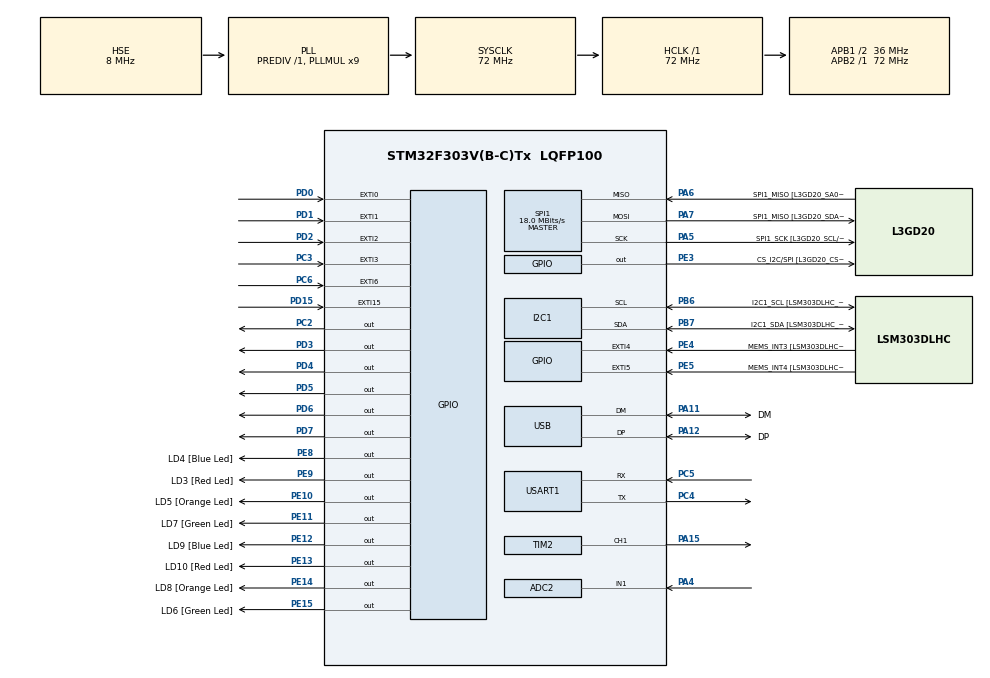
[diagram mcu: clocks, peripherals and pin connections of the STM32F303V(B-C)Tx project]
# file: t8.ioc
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ADC2.Channel-0\#ChannelRegularConversion=ADC_CHANNEL_1
ADC2.NbrOfConversionFlag=1
ADC2.Offset-0\#ChannelRegularConversion=0
ADC2.OffsetNumber-0\#ChannelRegularConversion=ADC_OFFSET_NONE
ADC2.Rank-0\#ChannelRegularConversion=1
ADC2.SamplingTime-0\#ChannelRegularConversion=ADC_SAMPLETIME_601CYCLES_5
ADC2.SamplingTimeOPAMP-0\#ChannelRegularConversion=ADC_SAMPLETIME_19CYCLES_5
I2C1.Timing-I2C=0x2000090E
Mcu.Family=STM32F3
Mcu.Name=STM32F303V(B-C)Tx
Mcu.Package=LQFP100
NVIC.ADC1_2_IRQn=true\:2\:0\:true\:false\:true\:true\:true
NVIC.EXTI0_IRQn=true\:0\:0\:true\:false\:true\:true\:true
NVIC.EXTI1_IRQn=true\:0\:0\:false\:false\:true\:true\:true
NVIC.EXTI2_TSC_IRQn=true\:0\:0\:false\:false\:true\:true\:true
NVIC.PriorityGroup=NVIC_PRIORITYGROUP_2
NVIC.TIM1_BRK_TIM15_IRQn=true\:2\:0\:true\:false\:true\:true\:true
NVIC.TIM1_CC_IRQn=true\:2\:0\:true\:false\:true\:true\:true
NVIC.TIM1_TRG_COM_TIM17_IRQn=true\:2\:0\:true\:false\:true\:true\:true
NVIC.TIM1_UP_TIM16_IRQn=true\:2\:0\:true\:false\:true\:true\:true
NVIC.TIM4_IRQn=true\:0\:0\:true\:false\:true\:true\:true
NVIC.TIM8_BRK_IRQn=true\:0\:0\:false\:false\:true\:true\:true
PA11.GPIO_Label=DM
PA11.Mode=Device
PA11.Signal=USB_DM
PA12.GPIO_Label=DP
PA12.Mode=Device
PA12.Signal=USB_DP
PA13.GPIO_Label=SWDIO
PA13.Mode=Serial_Wire
PA13.Signal=SYS_JTMS-SWDIO
PA14.GPIO_Label=SWCLK
PA14.Mode=Serial_Wire
PA14.Signal=SYS_JTCK-SWCLK
PA15.Signal=S_TIM2_CH1_ETR
PA4.Mode=IN1-Single-Ended
PA4.Signal=ADC2_IN1
PA5.GPIO_Label=SPI1_SCK [L3GD20_SCL/SPC]
PA5.Mode=Full_Duplex_Master
PA5.Signal=SPI1_SCK
PA6.GPIO_Label=SPI1_MISO [L3GD20_SA0/SDO]
PA6.Mode=Full_Duplex_Master
PA6.Signal=SPI1_MISO
PA7.GPIO_Label=SPI1_MISO [L3GD20_SDA/SDI/SDO]
PA7.Mode=Full_Duplex_Master
PA7.Signal=SPI1_MOSI
PB3.GPIO_Label=SWO
PB3.Signal=SYS_JTDO-TRACESWO
PB6.GPIO_Label=I2C1_SCL [LSM303DLHC_SCL]
PB6.GPIO_Pu=GPIO_PULLUP
PB6.Mode=I2C
PB6.Signal=I2C1_SCL
PB7.GPIO_Label=I2C1_SDA [LSM303DLHC_SDA]
PB7.GPIO_Pu=GPIO_PULLUP
PB7.Mode=I2C
PB7.Signal=I2C1_SDA
PC14-OSC32_IN.GPIO_Label=OSC32_IN
PC14-OSC32_IN.Signal=RCC_OSC32_IN
PC15-OSC32_OUT.GPIO_Label=OSC32_OUT
PC15-OSC32_OUT.Signal=RCC_OSC32_OUT
PC2.Signal=GPIO_Output
PC3.Signal=GPXTI3
PC4.Mode=Asynchronous
PC4.Signal=USART1_TX
PC5.Mode=Asynchronous
PC5.Signal=USART1_RX
PC6.Signal=GPXTI6
PD0.Signal=GPXTI0
PD1.Signal=GPXTI1
PD15.Signal=GPXTI15
PD2.Signal=GPXTI2
PD3.Signal=GPIO_Output
PD4.Signal=GPIO_Output
PD5.Signal=GPIO_Output
PD6.Signal=GPIO_Output
PD7.Signal=GPIO_Output
PE10.GPIO_Label=LD5 [Orange Led]
PE10.Signal=GPIO_Output
PE11.GPIO_Label=LD7 [Green Led]
PE11.Signal=GPIO_Output
PE12.GPIO_Label=LD9 [Blue Led]
PE12.Signal=GPIO_Output
PE13.GPIO_Label=LD10 [Red Led]
PE13.Signal=GPIO_Output
PE14.GPIO_Label=LD8 [Orange Led]
PE14.Signal=GPIO_Output
PE15.GPIO_Label=LD6 [Green Led]
PE15.Signal=GPIO_Output
PE3.GPIO_Label=CS_I2C/SPI [L3GD20_CS_I2C/SPI]
PE3.Signal=GPIO_Output
PE4.GPIO_Label=MEMS_INT3 [LSM303DLHC_INT1]
PE4.GPIO_ModeDefaultEXTI=GPIO_MODE_EVT_RISING
PE4.Signal=GPXTI4
PE5.GPIO_Label=MEMS_INT4 [LSM303DLHC_INT2]
PE5.GPIO_ModeDefaultEXTI=GPIO_MODE_EVT_RISING
PE5.Signal=GPXTI5
PE8.GPIO_Label=LD4 [Blue Led]
PE8.Signal=GPIO_Output
PE9.GPIO_Label=LD3 [Red Led]
PE9.Signal=GPIO_Output
PF0-OSC_IN.GPIO_Label=OSC_IN
PF0-OSC_IN.Mode=HSE-External-Clock-Source
PF0-OSC_IN.Signal=RCC_OSC_IN
PF1-OSC_OUT.GPIO_Label=OSC_OUT
PF1-OSC_OUT.Signal=RCC_OSC_OUT
ProjectManager.HeapSize=0x200
ProjectManager.StackSize=0x400
ProjectManager.TargetToolchain=STM32CubeIDE
RCC.AHBFreq_Value=72000000
RCC.APB1CLKDivider=RCC_HCLK_DIV2
RCC.APB1Freq_Value=36000000
RCC.APB1TimFreq_Value=72000000
RCC.APB2Freq_Value=72000000
RCC.APB2TimFreq_Value=72000000
RCC.CortexFreq_Value=72000000
RCC.HCLKFreq_Value=72000000
RCC.HSE_VALUE=8000000
RCC.HSI_VALUE=8000000
RCC.LSE_VALUE=32768
RCC.PLLMUL=RCC_PLL_MUL9
RCC.PRESCALERUSB=RCC_USBCLKSOURCE_PLL_DIV1_5
RCC.SYSCLKFreq_VALUE=72000000
RCC.SYSCLKSourceVirtual=RCC_SYSCLKSOURCE_PLLCLK
RCC.USBFreq_Value=48000000
SH.S_TIM2_CH1_ETR.0=TIM2_CH1,PWM Generation1 CH1
SPI1.BaudRatePrescaler=SPI_BAUDRATEPRESCALER_4
SPI1.BaudRatePrescaler-Full_Duplex_Master=SPI_BAUDRATEPRESCALER_2
SPI1.CalculateBaudRate=18.0 MBits/s
SPI1.CalculateBaudRate-Full_Duplex_Master=24.0 MBits/s
SPI1.Direction=SPI_DIRECTION_2LINES
SPI1.Mode=SPI_MODE_MASTER
SPI1.Mode-Full_Duplex_Master=SPI_MODE_MASTER
SPI1.VirtualType=VM_MASTER
TIM1.Period=9999
TIM1.Prescaler=7199
TIM2.Channel-PWM\ Generation1\ CH1=TIM_CHANNEL_1
TIM3.Period=9999
TIM3.Prescaler=959
TIM4.Period=9999
TIM4.Prescaler=4799
USART1.VirtualMode-Asynchronous=VM_ASYNC
VP_RTC_VS_RTC_Activate.Mode=RTC_Enabled
VP_RTC_VS_RTC_Calendar.Mode=RTC_Calendar
VP_TIM1_VS_ClockSourceINT.Mode=Internal
VP_TIM3_VS_ClockSourceINT.Mode=Internal
VP_TIM4_VS_ClockSourceINT.Mode=Internal
VP_TIM8_VS_ClockSourceINT.Mode=Internal
board=STM32F3DISCOVERY

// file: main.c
/* USER CODE BEGIN Header */
/**
 ******************************************************************************
 * @file           : main.c
 * @brief          : Main program body
 ******************************************************************************
 * @attention
 *
 * <h2><center>&copy; Copyright (c) 2022 STMicroelectronics.
 * All rights reserved.</center></h2>
 *
 * This software component is licensed by ST under BSD 3-Clause license,
 * the "License"; You may not use this file except in compliance with the
 * License. You may obtain a copy of the License at:
 *                        opensource.org/licenses/BSD-3-Clause
 *
 ******************************************************************************
 */
/* USER CODE END Header */
#include "main.h"

/* USER CODE BEGIN PTD */
#include <String.h>
#include <stdio.h>
#include "stm32f3xx_hal.h" // change this here and inside LiquidCrystal library accordingly
#include "LiquidCrystal.h"
typedef struct {
	uint16_t frequency;
	uint16_t duration;
} Tone;
typedef unsigned char byte;
#define ARRAY_LENGTH(arr) (sizeof(arr) / sizeof((arr)[0]))
#define NOTE_B0  31
#define NOTE_C1  33
#define NOTE_CS1 35
#define NOTE_D1  37
#define NOTE_DS1 39
#define NOTE_E1  41
#define NOTE_F1  44
#define NOTE_FS1 46
#define NOTE_G1  49
#define NOTE_GS1 52
#define NOTE_A1  55
#define NOTE_AS1 58
#define NOTE_B1  62
#define NOTE_C2  65
#define NOTE_CS2 69
#define NOTE_D2  73
#define NOTE_DS2 78
#define NOTE_E2  82
#define NOTE_F2  87
#define NOTE_FS2 93
#define NOTE_G2  98
#define NOTE_GS2 104
#define NOTE_A2  110
#define NOTE_AS2 117
#define NOTE_B2  123
#define NOTE_C3  131
#define NOTE_CS3 139
#define NOTE_D3  147
#define NOTE_DS3 156
#define NOTE_E3  165
#define NOTE_F3  175
#define NOTE_FS3 185
#define NOTE_G3  196
#define NOTE_GS3 208
#define NOTE_A3  220
#define NOTE_AS3 233
#define NOTE_B3  247
#define NOTE_C4  262
#define NOTE_CS4 277
#define NOTE_D4  294
#define NOTE_DS4 311
#define NOTE_E4  330
#define NOTE_F4  349
#define NOTE_FS4 370
#define NOTE_G4  392
#define NOTE_GS4 415
#define NOTE_A4  440
#define NOTE_AS4 466
#define NOTE_B4  494
#define NOTE_C5  523
#define NOTE_CS5 554
#define NOTE_D5  587
#define NOTE_DS5 622
#define NOTE_E5  659
#define NOTE_F5  698
#define NOTE_FS5 740
#define NOTE_G5  784
#define NOTE_GS5 831
#define NOTE_A5  880
#define NOTE_AS5 932
#define NOTE_B5  988
#define NOTE_C6  1047
#define NOTE_CS6 1109
#define NOTE_D6  1175
#define NOTE_DS6 1245
#define NOTE_E6  1319
#define NOTE_F6  1397
#define NOTE_FS6 1480
#define NOTE_G6  1568
#define NOTE_GS6 1661
#define NOTE_A6  1760
#define NOTE_AS6 1865
#define NOTE_B6  1976
#define NOTE_C7  2093
#define NOTE_CS7 2217
#define NOTE_D7  2349
#define NOTE_DS7 2489
#define NOTE_E7  2637
#define NOTE_F7  2794
#define NOTE_FS7 2960
#define NOTE_G7  3136
#define NOTE_GS7 3322
#define NOTE_A7  3520
#define NOTE_AS7 3729
#define NOTE_B7  3951
#define NOTE_C8  4186
#define NOTE_CS8 4435
#define NOTE_D8  4699
#define NOTE_DS8 4978
#define REST      0

/* USER CODE END PTD */

ADC_HandleTypeDef hadc2;

I2C_HandleTypeDef hi2c1;

RTC_HandleTypeDef hrtc;

SPI_HandleTypeDef hspi1;

TIM_HandleTypeDef htim1;
TIM_HandleTypeDef htim2;
TIM_HandleTypeDef htim3;
TIM_HandleTypeDef htim4;
TIM_HandleTypeDef htim8;

UART_HandleTypeDef huart1;

PCD_HandleTypeDef hpcd_USB_FS;

/* USER CODE BEGIN PV */
TIM_HandleTypeDef *pwm_timer = &htim2;
uint32_t pwm_channel = TIM_CHANNEL_1;   // Select configured PWM channel number
const Tone *volatile melody_ptr;
volatile uint16_t melody_tone_count;
volatile uint16_t current_tone_number;
volatile uint32_t current_tone_end;
volatile uint32_t last_button_press;
char lcdstr[20];
char str[20];   //for UART
char name[10];   //for name
int new_field[20][4]; //0 = empty 1 = spaceship 2=enemy 3 = spaceship bullet 4=enemy bullet
int old_field[20][4]; //0 = empty 1 = spaceship 2=enemy 3 = spaceship bullet 4=enemy bullet
int load = 0;
int last_gpio_exti = 0;
int i = 0, j = 0, t = 0, sw = 0, length;
int keypad = 0;
int heart = 7;
int movetime = 2;
int volume = 50;          // (0 - 1000)
int killed = 0;
int music = 0;
enum levels {
	Easy, Medium, Hard
};
enum pages {
	Start, About, End, Level, Name, Game, Menu
};
enum pages page;
enum levels level;
char strlevel[3][6] = { "EASY  ", "Medium", "Hard  " };
RTC_TimeTypeDef mytime;
RTC_DateTypeDef mydate;
byte spaceship[8] = { 0x00, 0x00, 0x07, 0x1F, 0x1F, 0x07, 0x00, 0x00 };
byte bullet[8] = { 0x00, 0x00, 0x06, 0x06, 0x06, 0x00, 0x00, 0x00 };
byte enemy[8] = { 0x00, 0x10, 0x09, 0x0E, 0x0E, 0x09, 0x10, 0x00 };
byte e_bullet[8] = { 0x00, 0x00, 0x00, 0x00, 0x1F, 0x00, 0x00, 0x00 };
byte crash[8] = { 0x00, 0x11, 0x0A, 0x04, 0x0A, 0x11, 0x00, 0x00 };
/* USER CODE END PV */

void SystemClock_Config(void);
static void MX_GPIO_Init(void);
static void MX_I2C1_Init(void);
static void MX_SPI1_Init(void);
static void MX_USB_PCD_Init(void);
static void MX_TIM1_Init(void);
static void MX_TIM2_Init(void);
static void MX_RTC_Init(void);
static void MX_ADC2_Init(void);
static void MX_TIM3_Init(void);
static void MX_USART1_UART_Init(void);
static void MX_TIM4_Init(void);
static void MX_TIM8_Init(void);
/* USER CODE BEGIN PFP */
const Tone melody[] = {         // Dart Vader theme (Imperial March) - Star wars
		{ NOTE_AS4, 125 }, { NOTE_AS4, 125 }, { NOTE_AS4, 125 },  //1
				{ NOTE_F5, 500 }, { NOTE_C6, 500 }, { NOTE_AS5, 125 }, {
				NOTE_A5, 125 }, { NOTE_G5, 125 }, { NOTE_F6, 500 }, {
				NOTE_C6, 250 }, { NOTE_AS5, 125 }, { NOTE_A5, 125 }, {
				NOTE_G5, 125 }, { NOTE_F6, 500 }, { NOTE_C6, 250 }, {
				NOTE_AS5, 125 }, { NOTE_A5, 125 }, { NOTE_AS5, 125 }, {
				NOTE_G5, 125 }, { NOTE_C5, 125 }, { NOTE_C5, 125 }, {
				NOTE_C5, 125 }, { NOTE_F5, 500 }, { NOTE_C6, 500 }, {
				NOTE_AS5, 125 }, { NOTE_A5, 125 }, { NOTE_G5, 125 }, {
				NOTE_F6, 500 }, { NOTE_C6, 250 }, { NOTE_AS5, 125 }, {
				NOTE_A5, 125 }, { NOTE_G5, 125 }, { NOTE_F6, 500 }, {
				NOTE_C6, 250 }, //8
				{ NOTE_AS5, 125 }, { NOTE_A5, 125 }, { NOTE_AS5, 125 }, {
				NOTE_G5, 500 }, { NOTE_C5, -125 }, { NOTE_C5, 62 }, {
				NOTE_D5, -250 }, { NOTE_D5, 125 }, { NOTE_AS5, 125 }, {
				NOTE_A5, 125 }, { NOTE_G5, 125 }, { NOTE_F5, 125 }, {
				NOTE_F5, 125 }, { NOTE_G5, 125 }, { NOTE_A5, 125 }, {
				NOTE_G5, 250 }, { NOTE_D5, 125 }, { NOTE_E5, 250 }, {
				NOTE_C5, -125 }, { NOTE_C5, 62 }, { NOTE_D5, -250 }, {
				NOTE_D5, 125 }, { NOTE_AS5, 125 }, { NOTE_A5, 125 }, {
				NOTE_G5, 125 }, { NOTE_F5, 125 }, { NOTE_C6, -125 }, {
				NOTE_G5, 62 }, { NOTE_G5, 500 }, { REST, 125 }, {
				NOTE_C5, 125 }, //13
				{ NOTE_D5, -250 }, { NOTE_D5, 125 }, { NOTE_AS5, 125 }, {
				NOTE_A5, 125 }, { NOTE_G5, 125 }, { NOTE_F5, 125 }, {
				NOTE_F5, 125 }, { NOTE_G5, 125 }, { NOTE_A5, 125 }, {
				NOTE_G5, 250 }, { NOTE_D5, 125 }, { NOTE_E5, 250 }, {
				NOTE_C6, -125 }, { NOTE_C6, 62 }, { NOTE_F6, 250 }, {
				NOTE_DS6, 125 }, { NOTE_CS6, 250 }, { NOTE_C6, 125 }, {
				NOTE_AS5, 250 }, { NOTE_GS5, 125 }, { NOTE_G5, 250 }, {
				NOTE_F5, 125 }, { NOTE_C6, 1000 } };
//int notes = sizeof(melody) / sizeof(melody[0]) / 2;
void spaceship_shooter() {
	int x;
	for (x = 0; x < 4; x++) {
		for (i = 1; i <= 18; i++) {
			if (new_field[i][x] == 3) {
				if (new_field[i - 1][x] == 2) {  //kill enemy
					new_field[i - 1][x] = 0;
					new_field[i][x] = 0;
					killed++;
				} else if (new_field[i - 1][x] == 4) {  //crash bullets
					new_field[i - 1][x] = 5;
					new_field[i][x] = 0;
				} else if (new_field[i - 1][x] == 0
						|| new_field[i - 1][x] == 5) {  //move bullet
					new_field[i - 1][x] = 3;
					new_field[i][x] = 0;
				}
			}
		}
	}
}
void move_enemy() {
	int x;
	for (x = 0; x < 4; x++) {
		for (i = 18; i >= 0; i--) {
			if (new_field[i][x] == 2 && new_field[i + 1][x] != 1) { // move down
				new_field[i + 1][x] = 2;
				new_field[i][x] = 0;
			}
		}
	}
	for (x = 0; x < 4; x++) {
		new_field[0][x] = 2;
	}
}
void enemy_shooter() {
	int x , y = 0;
	for (x = 0; x < 4; x++) {
		for (i = 0; i <= 18; i++) {
			if (new_field[i][x] == 4) {
				if (new_field[i + 1][x] == 0 && y < 4) {  //move down
					new_field[i + 1][x] = 4;
					new_field[i][x] = 0;
					y ++;
				} else if (new_field[i + 1][x] == 3&& y < 4) {  //crash bullets
					new_field[i + 1][x] = 5;
					new_field[i][x] = 0;
				}
				else if (new_field[i + 1][x] == 1) {  //end game
					new_field[i + 1][x] = 1;
					new_field[i][x] = 0;
					heart --;
					if(heart == 0)
						new_field[i + 1][x] = 5;
				}
			}
		}
	}
}
void shoot_enemy() {
	int x;
	for (x = 0; x < 4; x++) {
		for (i = 3; i < 18; i++) {
			if (new_field[i][x] == 2 && new_field[i + 1][x] != 2) {
				new_field[i + 1][x] = 4;
			}
		}
	}
}
void HAL_ADC_ConvCpltCallback(ADC_HandleTypeDef *hadc) {
	if (hadc->Instance == ADC2) {
		volume = HAL_ADC_GetValue(&hadc2) / 5;
		//length = sprintf(str, "vol = %d", vol);
		//HAL_UART_Transmit(&huart1, str, length, 1000);
		HAL_ADC_Start_IT(&hadc2);
	}
}
void send_field() {
	length = sprintf(str, "page = %d", page);
	HAL_UART_Transmit(&huart1, str, length, 1000);
	/*for (int i = 0; i < 20; i++) {
		length = sprintf(str, "\n{%d,%d,%d,%d}", new_field[i][0],
				new_field[i][1], new_field[i][2], new_field[i][3]);
		HAL_UART_Transmit(&huart1, str, length, 1000);
	}*/
}
void HAL_TIM_PeriodElapsedCallback(TIM_HandleTypeDef *htim) {
	//show display f = 20Hz
	if (htim->Instance == TIM1) {
		//print
		HAL_GPIO_TogglePin(GPIOE, GPIO_PIN_13);
		send_field();
		//end game
		if (killed >= (15 + (int) level * 10) && page == Game) {
			page = End;
			HAL_GPIO_WritePin(GPIOD, GPIO_PIN_3, 1);
		}
		if (heart <= 0) {
			page = End;
			HAL_GPIO_WritePin(GPIOD, GPIO_PIN_4, 1);

		}
		for (j = 0; j < 4; j++) {
			if (new_field[19][j] == 2) {
				page = End;
				HAL_GPIO_WritePin(GPIOD, GPIO_PIN_4, 1);
			}
		}
		if (page == Name) {
			setCursor(0, 0);
			sprintf(lcdstr, "Enter Your Name:    ");
			print(lcdstr);
			setCursor(0, 1);
			print("                    ");
			setCursor(0, 2);
			print("                    ");
		} else if (page == Level) {
			setCursor(0, 0);
			sprintf(lcdstr, "Level:              ");
			print(lcdstr);
			setCursor(0, 1);
			if (level == Easy)
				print("EASY                ");
			else if (level == Medium)
				print("MEDIUM              ");
			else if (level == Hard)
				print("HARD                ");
		} else if (page == About) {
			HAL_RTC_GetTime(&hrtc, &mytime, RTC_FORMAT_BIN);
			HAL_RTC_GetDate(&hrtc, &mydate, RTC_FORMAT_BIN);
			setCursor(0, 0);
			sprintf(lcdstr, "%2d:%2d:%2d", mytime.Hours, mytime.Minutes,
					mytime.Seconds);
			print(lcdstr);
			setCursor(0, 1);
			sprintf(lcdstr, "%d/%d/%d       ", mydate.Year, mydate.Month,
					mydate.Date);
			print(lcdstr);
			setCursor(0, 2);
			print("M.Akhavan & S.Anvari    ");
		} else if (page == Menu) {
			//music++;
			setCursor(0, 0);
			print("Choose              1.About Us2.New Game");
			//if (music % 8 == 0)
			///	Change_Melody(melody, ARRAY_LENGTH(melody));

		} else if (page == End) {
			setCursor(0, 0);
			if (killed >= (15 + (int) level * 10)) {
				print("You Won!            "); //
				setCursor(0, 1);
				print(name);
				print("          ");
				setCursor(0, 2);
				sprintf(lcdstr, "killed: %d           ", killed);
				print(lcdstr);
				setCursor(0, 3);
				sprintf(lcdstr, "Level: %c%c%c%c%c%c       ",
						strlevel[level][0], strlevel[level][1],
						strlevel[level][2], strlevel[level][3],
						strlevel[level][4], strlevel[level][5]);
				print(lcdstr);
				length = sprintf(str, "\nYou Wooooooooon :)");
				HAL_UART_Transmit(&huart1, str, length, 1000);
			} else {
				print("Game Over!          ");
				setCursor(0, 1);
				print(name);
				print("          ");
				setCursor(0, 2);
				sprintf(lcdstr, "killed: %d           ", killed);
				print(lcdstr);
				setCursor(0, 3);
				sprintf(lcdstr, "Level: %c%c%c%c%c%c       ",
						strlevel[level][0], strlevel[level][1],
						strlevel[level][2], strlevel[level][3],
						strlevel[level][4], strlevel[level][5]);
				print(lcdstr);
				length = sprintf(str, "\nSorry ,Try Better :(");
				HAL_UART_Transmit(&huart1, str, length, 1000);
			}

		}else if (page == Game) {
			sw++;
			if (sw >= 100000)
				sw = 0;
			if (sw % (movetime) == 0) {

				move_enemy();
			}
			//enemy_shooter();

			//shoot_enemy();

			spaceship_shooter();

			for (i = 0; i < 20; i++) {
				for (j = 0; j < 4; j++) {
					if (new_field[i][j] != old_field[i][j]) {
						old_field[i][j] = new_field[i][j];
						setCursor(i, j);
						if (new_field[i][j] == 0) {
							print(" ");
						}
						if (new_field[i][j] == 1) {
							write(0);

						}
						if (new_field[i][j] == 2) {
							write(1);

						}
						if (new_field[i][j] == 3) {
							write(2);
						}
						if (new_field[i][j] == 4) {
							write(3);
						}
						if (new_field[i][j] == 5) {
							write(4);
						}
					}
				}
			}
		}
	}
}
void HAL_GPIO_EXTI_Callback(uint16_t GPIO_Pin) {
	if (last_gpio_exti + 200 > HAL_GetTick()) // Simple button debouncing{
		return;
	last_gpio_exti = HAL_GetTick();
	if (GPIO_Pin == GPIO_PIN_0) { //left
		HAL_GPIO_TogglePin(GPIOE, GPIO_PIN_14);

		if (page == Start) {
			page = Menu; //go to menu
			Change_Melody(melody, ARRAY_LENGTH(melody));

		} else if (page == Menu || page == About) {
			page = Name; // go to game
			PWM_Change_Tone(0,0);
		} else if (page == Game) {
			for (int x = 0; x < 4; x++) {
				if (new_field[19][x] == 1) {
					new_field[19][x] = 0;
					new_field[19][(x + 3) % 4] = 1;
				}
			}
			if ((15 + (int) level * 10) - killed == 3) {
				length = sprintf(str, "\n Just kill %d enemy more",
						((15 + (int) level * 10) - killed));
				HAL_UART_Transmit(&huart1, str, length, 1000);
			}
			if (heart <= 1) {
				length = sprintf(str, "\n vaaaaaaaaaaaaaaay heart = %d", heart);
				HAL_UART_Transmit(&huart1, str, length, 1000);
			}
		} else if (page == Name) {
			HAL_UART_Receive(&huart1, name, 10, HAL_MAX_DELAY);

			page = Level;
		} else if (page == Level) {
			page = Game;
			length = sprintf(str,
					"\nWelcome! \nTarget = %d  Level = %c%c%c%c%c%c",
					(15 + (int) level * 10), strlevel[level][0],
					strlevel[level][1], strlevel[level][2], strlevel[level][3],
					strlevel[level][4], strlevel[level][5]);
			HAL_UART_Transmit(&huart1, str, length, 1000);
		}
	}
	if (GPIO_Pin == GPIO_PIN_1) { //right
		HAL_GPIO_TogglePin(GPIOE, GPIO_PIN_15);

		if (page == Start) {
			page = Menu;
			Change_Melody(melody, ARRAY_LENGTH(melody));

		} else if (page == About) {
			page = Name; // go to game

		} else if (page == Name) {
			HAL_UART_Receive_IT(&huart1, name, 10);
			//length = sprintf(str, "\n name = %s", name);
			//	HAL_UART_Transmit(&huart1, str, length, 1000);
			page = Level; // go to game

		} else if (page == Level) {
			length = sprintf(str, "\n level = %d", level);
			//HAL_UART_Transmit(&huart1, str, length, 1000);
			if (level == Easy) {
				level = Medium;
				heart = 5;
				movetime = 3;
			} else if (level == Medium) {
				level = Hard;
				heart = 3;
				movetime = 1;
			} else if (level == Hard) {
				level = Easy;
				heart = 7;
				movetime = 5;
			}

		} else if (page == Menu) {
			page = About; //go to about
			PWM_Change_Tone(0,0);
		} else if (page == Game) {
			for (int x = 0; x < 4; x++) {
				if (new_field[19][x] == 1) {
					new_field[19][x] = 0;
					new_field[19][(x + 1) % 4] = 1;
				}
			}
			if ((15 + (int) level * 10) - killed == 3) {
				length = sprintf(str, "\n Just kill %d enemy more",
						((15 + (int) level * 10) - killed));
				HAL_UART_Transmit(&huart1, str, length, 1000);
			}
			if (heart <= 1) {
				length = sprintf(str, "\n vaaaaaaaaaaaaaaay heart = %d", heart);
				HAL_UART_Transmit(&huart1, str, length, 1000);
			}
		}
	}
	if (GPIO_Pin == GPIO_PIN_2) { //shoot
		HAL_GPIO_TogglePin(GPIOE, GPIO_PIN_12);

		if (page == Game) {
			for (int x = 0; x < 4; x++) {
				if (new_field[19][x] == 1) {
					new_field[18][x] = 3;

				}
			}
			if ((15 + (int) level * 10) - killed == 3) {
				length = sprintf(str, "\n Just kill %d enemy more",
						((15 + (int) level * 10) - killed));
				HAL_UART_Transmit(&huart1, str, length, 1000);
			}
			if (heart <= 1) {
				length = sprintf(str, "\n vaaaaaaaaaaaaaaay heart = %d", heart);
				HAL_UART_Transmit(&huart1, str, length, 1000);
			}
		}
	}
}
void PWM_Start() {
	HAL_TIM_PWM_Start(pwm_timer, pwm_channel);
}
void PWM_Change_Tone(uint16_t pwm_freq, uint16_t volume) // pwm_freq (1 - 20000), volume (0 - 1000)
{
	if (pwm_freq == 0 || pwm_freq > 20000) {
		__HAL_TIM_SET_COMPARE(pwm_timer, pwm_channel, 0);
	} else {
		//HAL_GPIO_TogglePin(GPIOE, GPIO_PIN_8);
		const uint32_t internal_clock_freq = HAL_RCC_GetSysClockFreq();
		// const uint16_t prescaler = 1;
		const uint16_t prescaler = 1 + internal_clock_freq / pwm_freq / 60000;
		const uint32_t timer_clock = internal_clock_freq / prescaler;
		const uint32_t period_cycles = timer_clock / pwm_freq;
		const uint32_t pulse_width = volume * period_cycles / 1000 / 2;

		pwm_timer->Instance->PSC = prescaler - 1;
		pwm_timer->Instance->ARR = period_cycles - 1;
		pwm_timer->Instance->EGR = TIM_EGR_UG;
		__HAL_TIM_SET_COMPARE(pwm_timer, pwm_channel, pulse_width); // pwm_timer->Instance->CCR2 = pulse_width;
	}
}
void Change_Melody(const Tone *melody, uint16_t tone_count) {
	melody_ptr = melody;
	melody_tone_count = tone_count;
	current_tone_number = 0;
}

void Update_Melody() {
	if ((HAL_GetTick() > current_tone_end)
			&& (current_tone_number < melody_tone_count)) {
		const Tone active_tone = *(melody_ptr + current_tone_number);
		PWM_Change_Tone(active_tone.frequency, volume);
		current_tone_end = HAL_GetTick() + active_tone.duration;
		current_tone_number++;
	}
}
/*
 void HAL_UART_RxCpltCallback(UART_HandleTypeDef *huart)
 {
 if (huart->instance == USART2)
 {
 HAL_UART_Receive_IT(&huart2, str, sizeof(str));
 }
 }

 void HAL_GPIO_EXTI_Callback(uint16_t GPIO_Pin)
 {
 if (GPIO_Pin == GPIO_PIN_0)
 {

 }
 } */
/* USER CODE END PFP */

int main(void) {

	/* MCU Configuration--------------------------------------------------------*/

	/* Reset of all peripherals, Initializes the Flash interface and the Systick. */
	HAL_Init();

	/* Configure the system clock */
	SystemClock_Config();

	/* Initialize all configured peripherals */
	MX_GPIO_Init();
	MX_I2C1_Init();
	MX_SPI1_Init();
	MX_USB_PCD_Init();
	MX_TIM1_Init();
	MX_TIM2_Init();
	MX_RTC_Init();
	MX_ADC2_Init();
	MX_TIM3_Init();
	MX_USART1_UART_Init();
	MX_TIM4_Init();
	MX_TIM8_Init();
	/* USER CODE BEGIN 2 */
	//initialize
	LiquidCrystal(GPIOD, GPIO_PIN_8, GPIO_PIN_9, GPIO_PIN_10, GPIO_PIN_11,
	GPIO_PIN_12, GPIO_PIN_13, GPIO_PIN_14);
	begin(20, 4);
	page = Start;
	level = Easy;
	HAL_TIM_Base_Start_IT(&htim1);
	HAL_TIM_Base_Start_IT(&htim2);
	HAL_TIM_Base_Start_IT(&htim8);
	HAL_ADC_Start_IT(&hadc2);
	PWM_Start();
	mytime.Hours = 7;
	mytime.Minutes = 20;
	mytime.Seconds = 40;
	mydate.Year = 22;
	mydate.Month = 12;
	mydate.Date = 28;
	HAL_RTC_SetTime(&hrtc, &mytime, RTC_FORMAT_BIN);
	HAL_RTC_SetDate(&hrtc, &mydate, RTC_FORMAT_BIN);
	//build new_field
	for (int i = 0; i < 20; i++) {
		for (int j = 0; j < 4; j++) {
			old_field[i][j] = -1;
		}
	}
	for (int i = 0; i < 20; i++) {
		for (int j = 0; j < 4; j++) {
			new_field[i][j] = 0;
			if (i < 4) {
				new_field[i][j] = 2;
			}
		}
	}
	new_field[19][2] = 1;

	createChar(0, spaceship);
	createChar(1, enemy);
	createChar(2, bullet);
	createChar(3, e_bullet);
	createChar(4, crash);

	setCursor(0, 0);
	print("                    ");
	setCursor(0,1);
	print("                    ");
	setCursor(0,2);
	print("   SPACE INVADERS   ");
	setCursor(0,3);
	print("                    ");

	//FILE  *f = fopen("document.txt", "w");
	//fprintf(f, "\n...SPACE INVADERS...\n Creators: M.Akhavafard & Sh.Anvari \nLevel: %d\nkillded: %d\nheart:%d", level,killed,heart);
	//fclose(f);
	/* USER CODE END 2 */

	/* Infinite loop */
	while (1) {

	}
}

void SystemClock_Config(void) {
	RCC_OscInitTypeDef RCC_OscInitStruct = { 0 };
	RCC_ClkInitTypeDef RCC_ClkInitStruct = { 0 };
	RCC_PeriphCLKInitTypeDef PeriphClkInit = { 0 };

	/** Initializes the RCC Oscillators according to the specified parameters
	 * in the RCC_OscInitTypeDef structure.
	 */
	RCC_OscInitStruct.OscillatorType = RCC_OSCILLATORTYPE_HSI
			| RCC_OSCILLATORTYPE_LSI | RCC_OSCILLATORTYPE_HSE;
	RCC_OscInitStruct.HSEState = RCC_HSE_BYPASS;
	RCC_OscInitStruct.HSEPredivValue = RCC_HSE_PREDIV_DIV1;
	RCC_OscInitStruct.HSIState = RCC_HSI_ON;
	RCC_OscInitStruct.HSICalibrationValue = RCC_HSICALIBRATION_DEFAULT;
	RCC_OscInitStruct.LSIState = RCC_LSI_ON;
	RCC_OscInitStruct.PLL.PLLState = RCC_PLL_ON;
	RCC_OscInitStruct.PLL.PLLSource = RCC_PLLSOURCE_HSE;
	RCC_OscInitStruct.PLL.PLLMUL = RCC_PLL_MUL9;
	if (HAL_RCC_OscConfig(&RCC_OscInitStruct) != HAL_OK) {
		Error_Handler();
	}
	/** Initializes the CPU, AHB and APB buses clocks
	 */
	RCC_ClkInitStruct.ClockType = RCC_CLOCKTYPE_HCLK | RCC_CLOCKTYPE_SYSCLK
			| RCC_CLOCKTYPE_PCLK1 | RCC_CLOCKTYPE_PCLK2;
	RCC_ClkInitStruct.SYSCLKSource = RCC_SYSCLKSOURCE_PLLCLK;
	RCC_ClkInitStruct.AHBCLKDivider = RCC_SYSCLK_DIV1;
	RCC_ClkInitStruct.APB1CLKDivider = RCC_HCLK_DIV2;
	RCC_ClkInitStruct.APB2CLKDivider = RCC_HCLK_DIV1;

	if (HAL_RCC_ClockConfig(&RCC_ClkInitStruct, FLASH_LATENCY_2) != HAL_OK) {
		Error_Handler();
	}
	PeriphClkInit.PeriphClockSelection = RCC_PERIPHCLK_USB
			| RCC_PERIPHCLK_USART1 | RCC_PERIPHCLK_I2C1 | RCC_PERIPHCLK_RTC
			| RCC_PERIPHCLK_TIM1 | RCC_PERIPHCLK_TIM8 | RCC_PERIPHCLK_ADC12;
	PeriphClkInit.Usart1ClockSelection = RCC_USART1CLKSOURCE_PCLK2;
	PeriphClkInit.Adc12ClockSelection = RCC_ADC12PLLCLK_DIV1;
	PeriphClkInit.I2c1ClockSelection = RCC_I2C1CLKSOURCE_HSI;
	PeriphClkInit.RTCClockSelection = RCC_RTCCLKSOURCE_LSI;
	PeriphClkInit.USBClockSelection = RCC_USBCLKSOURCE_PLL_DIV1_5;
	PeriphClkInit.Tim1ClockSelection = RCC_TIM1CLK_HCLK;
	PeriphClkInit.Tim8ClockSelection = RCC_TIM8CLK_HCLK;
	if (HAL_RCCEx_PeriphCLKConfig(&PeriphClkInit) != HAL_OK) {
		Error_Handler();
	}
}

static void MX_ADC2_Init(void) {

	ADC_ChannelConfTypeDef sConfig = { 0 };

	/** Common config
	 */
	hadc2.Instance = ADC2;
	hadc2.Init.ClockPrescaler = ADC_CLOCK_ASYNC_DIV1;
	hadc2.Init.Resolution = ADC_RESOLUTION_12B;
	hadc2.Init.ScanConvMode = ADC_SCAN_DISABLE;
	hadc2.Init.ContinuousConvMode = DISABLE;
	hadc2.Init.DiscontinuousConvMode = DISABLE;
	hadc2.Init.ExternalTrigConvEdge = ADC_EXTERNALTRIGCONVEDGE_NONE;
	hadc2.Init.ExternalTrigConv = ADC_SOFTWARE_START;
	hadc2.Init.DataAlign = ADC_DATAALIGN_RIGHT;
	hadc2.Init.NbrOfConversion = 1;
	hadc2.Init.DMAContinuousRequests = DISABLE;
	hadc2.Init.EOCSelection = ADC_EOC_SINGLE_CONV;
	hadc2.Init.LowPowerAutoWait = DISABLE;
	hadc2.Init.Overrun = ADC_OVR_DATA_OVERWRITTEN;
	if (HAL_ADC_Init(&hadc2) != HAL_OK) {
		Error_Handler();
	}
	/** Configure Regular Channel
	 */
	sConfig.Channel = ADC_CHANNEL_1;
	sConfig.Rank = ADC_REGULAR_RANK_1;
	sConfig.SingleDiff = ADC_SINGLE_ENDED;
	sConfig.SamplingTime = ADC_SAMPLETIME_601CYCLES_5;
	sConfig.OffsetNumber = ADC_OFFSET_NONE;
	sConfig.Offset = 0;
	if (HAL_ADC_ConfigChannel(&hadc2, &sConfig) != HAL_OK) {
		Error_Handler();
	}

}

static void MX_I2C1_Init(void) {

	hi2c1.Instance = I2C1;
	hi2c1.Init.Timing = 0x2000090E;
	hi2c1.Init.OwnAddress1 = 0;
	hi2c1.Init.AddressingMode = I2C_ADDRESSINGMODE_7BIT;
	hi2c1.Init.DualAddressMode = I2C_DUALADDRESS_DISABLE;
	hi2c1.Init.OwnAddress2 = 0;
	hi2c1.Init.OwnAddress2Masks = I2C_OA2_NOMASK;
	hi2c1.Init.GeneralCallMode = I2C_GENERALCALL_DISABLE;
	hi2c1.Init.NoStretchMode = I2C_NOSTRETCH_DISABLE;
	if (HAL_I2C_Init(&hi2c1) != HAL_OK) {
		Error_Handler();
	}
	/** Configure Analogue filter
	 */
	if (HAL_I2CEx_ConfigAnalogFilter(&hi2c1, I2C_ANALOGFILTER_ENABLE)
			!= HAL_OK) {
		Error_Handler();
	}
	/** Configure Digital filter
	 */
	if (HAL_I2CEx_ConfigDigitalFilter(&hi2c1, 0) != HAL_OK) {
		Error_Handler();
	}

}

static void MX_RTC_Init(void) {

	RTC_TimeTypeDef sTime = { 0 };
	RTC_DateTypeDef sDate = { 0 };

	/** Initialize RTC Only
	 */
	hrtc.Instance = RTC;
	hrtc.Init.HourFormat = RTC_HOURFORMAT_24;
	hrtc.Init.AsynchPrediv = 127;
	hrtc.Init.SynchPrediv = 255;
	hrtc.Init.OutPut = RTC_OUTPUT_DISABLE;
	hrtc.Init.OutPutPolarity = RTC_OUTPUT_POLARITY_HIGH;
	hrtc.Init.OutPutType = RTC_OUTPUT_TYPE_OPENDRAIN;
	if (HAL_RTC_Init(&hrtc) != HAL_OK) {
		Error_Handler();
	}

	/** Initialize RTC and set the Time and Date
	 */
	sTime.Hours = 0x0;
	sTime.Minutes = 0x0;
	sTime.Seconds = 0x0;
	sTime.DayLightSaving = RTC_DAYLIGHTSAVING_NONE;
	sTime.StoreOperation = RTC_STOREOPERATION_RESET;
	if (HAL_RTC_SetTime(&hrtc, &sTime, RTC_FORMAT_BCD) != HAL_OK) {
		Error_Handler();
	}
	sDate.WeekDay = RTC_WEEKDAY_MONDAY;
	sDate.Month = RTC_MONTH_JANUARY;
	sDate.Date = 0x1;
	sDate.Year = 0x0;

	if (HAL_RTC_SetDate(&hrtc, &sDate, RTC_FORMAT_BCD) != HAL_OK) {
		Error_Handler();
	}

}

static void MX_SPI1_Init(void) {

	/* SPI1 parameter configuration*/
	hspi1.Instance = SPI1;
	hspi1.Init.Mode = SPI_MODE_MASTER;
	hspi1.Init.Direction = SPI_DIRECTION_2LINES;
	hspi1.Init.DataSize = SPI_DATASIZE_4BIT;
	hspi1.Init.CLKPolarity = SPI_POLARITY_LOW;
	hspi1.Init.CLKPhase = SPI_PHASE_1EDGE;
	hspi1.Init.NSS = SPI_NSS_SOFT;
	hspi1.Init.BaudRatePrescaler = SPI_BAUDRATEPRESCALER_4;
	hspi1.Init.FirstBit = SPI_FIRSTBIT_MSB;
	hspi1.Init.TIMode = SPI_TIMODE_DISABLE;
	hspi1.Init.CRCCalculation = SPI_CRCCALCULATION_DISABLE;
	hspi1.Init.CRCPolynomial = 7;
	hspi1.Init.CRCLength = SPI_CRC_LENGTH_DATASIZE;
	hspi1.Init.NSSPMode = SPI_NSS_PULSE_ENABLE;
	if (HAL_SPI_Init(&hspi1) != HAL_OK) {
		Error_Handler();
	}

}

static void MX_TIM1_Init(void) {

	TIM_ClockConfigTypeDef sClockSourceConfig = { 0 };
	TIM_MasterConfigTypeDef sMasterConfig = { 0 };

	htim1.Instance = TIM1;
	htim1.Init.Prescaler = 7199;
	htim1.Init.CounterMode = TIM_COUNTERMODE_UP;
	htim1.Init.Period = 9999;
	htim1.Init.ClockDivision = TIM_CLOCKDIVISION_DIV1;
	htim1.Init.RepetitionCounter = 0;
	htim1.Init.AutoReloadPreload = TIM_AUTORELOAD_PRELOAD_DISABLE;
	if (HAL_TIM_Base_Init(&htim1) != HAL_OK) {
		Error_Handler();
	}
	sClockSourceConfig.ClockSource = TIM_CLOCKSOURCE_INTERNAL;
	if (HAL_TIM_ConfigClockSource(&htim1, &sClockSourceConfig) != HAL_OK) {
		Error_Handler();
	}
	sMasterConfig.MasterOutputTrigger = TIM_TRGO_RESET;
	sMasterConfig.MasterOutputTrigger2 = TIM_TRGO2_RESET;
	sMasterConfig.MasterSlaveMode = TIM_MASTERSLAVEMODE_DISABLE;
	if (HAL_TIMEx_MasterConfigSynchronization(&htim1, &sMasterConfig)
			!= HAL_OK) {
		Error_Handler();
	}

}

static void MX_TIM2_Init(void) {

	TIM_MasterConfigTypeDef sMasterConfig = { 0 };
	TIM_OC_InitTypeDef sConfigOC = { 0 };

	htim2.Instance = TIM2;
	htim2.Init.Prescaler = 0;
	htim2.Init.CounterMode = TIM_COUNTERMODE_UP;
	htim2.Init.Period = 4294967295;
	htim2.Init.ClockDivision = TIM_CLOCKDIVISION_DIV1;
	htim2.Init.AutoReloadPreload = TIM_AUTORELOAD_PRELOAD_DISABLE;
	if (HAL_TIM_PWM_Init(&htim2) != HAL_OK) {
		Error_Handler();
	}
	sMasterConfig.MasterOutputTrigger = TIM_TRGO_RESET;
	sMasterConfig.MasterSlaveMode = TIM_MASTERSLAVEMODE_DISABLE;
	if (HAL_TIMEx_MasterConfigSynchronization(&htim2, &sMasterConfig)
			!= HAL_OK) {
		Error_Handler();
	}
	sConfigOC.OCMode = TIM_OCMODE_PWM1;
	sConfigOC.Pulse = 0;
	sConfigOC.OCPolarity = TIM_OCPOLARITY_HIGH;
	sConfigOC.OCFastMode = TIM_OCFAST_DISABLE;
	if (HAL_TIM_PWM_ConfigChannel(&htim2, &sConfigOC, TIM_CHANNEL_1)
			!= HAL_OK) {
		Error_Handler();
	}
	HAL_TIM_MspPostInit(&htim2);

}

static void MX_TIM3_Init(void) {

	TIM_ClockConfigTypeDef sClockSourceConfig = { 0 };
	TIM_MasterConfigTypeDef sMasterConfig = { 0 };

	htim3.Instance = TIM3;
	htim3.Init.Prescaler = 959;
	htim3.Init.CounterMode = TIM_COUNTERMODE_UP;
	htim3.Init.Period = 9999;
	htim3.Init.ClockDivision = TIM_CLOCKDIVISION_DIV1;
	htim3.Init.AutoReloadPreload = TIM_AUTORELOAD_PRELOAD_DISABLE;
	if (HAL_TIM_Base_Init(&htim3) != HAL_OK) {
		Error_Handler();
	}
	sClockSourceConfig.ClockSource = TIM_CLOCKSOURCE_INTERNAL;
	if (HAL_TIM_ConfigClockSource(&htim3, &sClockSourceConfig) != HAL_OK) {
		Error_Handler();
	}
	sMasterConfig.MasterOutputTrigger = TIM_TRGO_RESET;
	sMasterConfig.MasterSlaveMode = TIM_MASTERSLAVEMODE_DISABLE;
	if (HAL_TIMEx_MasterConfigSynchronization(&htim3, &sMasterConfig)
			!= HAL_OK) {
		Error_Handler();
	}

}

static void MX_TIM4_Init(void) {

	TIM_ClockConfigTypeDef sClockSourceConfig = { 0 };
	TIM_MasterConfigTypeDef sMasterConfig = { 0 };

	htim4.Instance = TIM4;
	htim4.Init.Prescaler = 4799;
	htim4.Init.CounterMode = TIM_COUNTERMODE_UP;
	htim4.Init.Period = 9999;
	htim4.Init.ClockDivision = TIM_CLOCKDIVISION_DIV1;
	htim4.Init.AutoReloadPreload = TIM_AUTORELOAD_PRELOAD_DISABLE;
	if (HAL_TIM_Base_Init(&htim4) != HAL_OK) {
		Error_Handler();
	}
	sClockSourceConfig.ClockSource = TIM_CLOCKSOURCE_INTERNAL;
	if (HAL_TIM_ConfigClockSource(&htim4, &sClockSourceConfig) != HAL_OK) {
		Error_Handler();
	}
	sMasterConfig.MasterOutputTrigger = TIM_TRGO_RESET;
	sMasterConfig.MasterSlaveMode = TIM_MASTERSLAVEMODE_DISABLE;
	if (HAL_TIMEx_MasterConfigSynchronization(&htim4, &sMasterConfig)
			!= HAL_OK) {
		Error_Handler();
	}

}

static void MX_TIM8_Init(void) {

	TIM_ClockConfigTypeDef sClockSourceConfig = { 0 };
	TIM_MasterConfigTypeDef sMasterConfig = { 0 };

	htim8.Instance = TIM8;
	htim8.Init.Prescaler = 0;
	htim8.Init.CounterMode = TIM_COUNTERMODE_UP;
	htim8.Init.Period = 65535;
	htim8.Init.ClockDivision = TIM_CLOCKDIVISION_DIV1;
	htim8.Init.RepetitionCounter = 0;
	htim8.Init.AutoReloadPreload = TIM_AUTORELOAD_PRELOAD_DISABLE;
	if (HAL_TIM_Base_Init(&htim8) != HAL_OK) {
		Error_Handler();
	}
	sClockSourceConfig.ClockSource = TIM_CLOCKSOURCE_INTERNAL;
	if (HAL_TIM_ConfigClockSource(&htim8, &sClockSourceConfig) != HAL_OK) {
		Error_Handler();
	}
	sMasterConfig.MasterOutputTrigger = TIM_TRGO_RESET;
	sMasterConfig.MasterOutputTrigger2 = TIM_TRGO2_RESET;
	sMasterConfig.MasterSlaveMode = TIM_MASTERSLAVEMODE_DISABLE;
	if (HAL_TIMEx_MasterConfigSynchronization(&htim8, &sMasterConfig)
			!= HAL_OK) {
		Error_Handler();
	}

}

static void MX_USART1_UART_Init(void) {

	huart1.Instance = USART1;
	huart1.Init.BaudRate = 38400;
	huart1.Init.WordLength = UART_WORDLENGTH_8B;
	huart1.Init.StopBits = UART_STOPBITS_1;
	huart1.Init.Parity = UART_PARITY_NONE;
	huart1.Init.Mode = UART_MODE_TX_RX;
	huart1.Init.HwFlowCtl = UART_HWCONTROL_NONE;
	huart1.Init.OverSampling = UART_OVERSAMPLING_16;
	huart1.Init.OneBitSampling = UART_ONE_BIT_SAMPLE_DISABLE;
	huart1.AdvancedInit.AdvFeatureInit = UART_ADVFEATURE_NO_INIT;
	if (HAL_UART_Init(&huart1) != HAL_OK) {
		Error_Handler();
	}

}

static void MX_USB_PCD_Init(void) {

	hpcd_USB_FS.Instance = USB;
	hpcd_USB_FS.Init.dev_endpoints = 8;
	hpcd_USB_FS.Init.speed = PCD_SPEED_FULL;
	hpcd_USB_FS.Init.phy_itface = PCD_PHY_EMBEDDED;
	hpcd_USB_FS.Init.low_power_enable = DISABLE;
	hpcd_USB_FS.Init.battery_charging_enable = DISABLE;
	if (HAL_PCD_Init(&hpcd_USB_FS) != HAL_OK) {
		Error_Handler();
	}

}

static void MX_GPIO_Init(void) {
	GPIO_InitTypeDef GPIO_InitStruct = { 0 };

	/* GPIO Ports Clock Enable */
	__HAL_RCC_GPIOE_CLK_ENABLE();
	__HAL_RCC_GPIOC_CLK_ENABLE();
	__HAL_RCC_GPIOF_CLK_ENABLE();
	__HAL_RCC_GPIOA_CLK_ENABLE();
	__HAL_RCC_GPIOD_CLK_ENABLE();
	__HAL_RCC_GPIOB_CLK_ENABLE();

	/*Configure GPIO pin Output Level */
	HAL_GPIO_WritePin(GPIOE,
			CS_I2C_SPI_Pin | LD4_Pin | LD3_Pin | LD5_Pin | LD7_Pin | LD9_Pin
					| LD10_Pin | LD8_Pin | LD6_Pin, GPIO_PIN_RESET);

	/*Configure GPIO pin Output Level */
	HAL_GPIO_WritePin(GPIOC, GPIO_PIN_2, GPIO_PIN_RESET);

	/*Configure GPIO pin Output Level */
	HAL_GPIO_WritePin(GPIOD,
			GPIO_PIN_3 | GPIO_PIN_4 | GPIO_PIN_5 | GPIO_PIN_6 | GPIO_PIN_7,
			GPIO_PIN_RESET);

	/*Configure GPIO pins : CS_I2C_SPI_Pin LD4_Pin LD3_Pin LD5_Pin
	 LD7_Pin LD9_Pin LD10_Pin LD8_Pin
	 LD6_Pin */
	GPIO_InitStruct.Pin = CS_I2C_SPI_Pin | LD4_Pin | LD3_Pin | LD5_Pin | LD7_Pin
			| LD9_Pin | LD10_Pin | LD8_Pin | LD6_Pin;
	GPIO_InitStruct.Mode = GPIO_MODE_OUTPUT_PP;
	GPIO_InitStruct.Pull = GPIO_NOPULL;
	GPIO_InitStruct.Speed = GPIO_SPEED_FREQ_LOW;
	HAL_GPIO_Init(GPIOE, &GPIO_InitStruct);

	/*Configure GPIO pins : MEMS_INT3_Pin MEMS_INT4_Pin */
	GPIO_InitStruct.Pin = MEMS_INT3_Pin | MEMS_INT4_Pin;
	GPIO_InitStruct.Mode = GPIO_MODE_EVT_RISING;
	GPIO_InitStruct.Pull = GPIO_NOPULL;
	HAL_GPIO_Init(GPIOE, &GPIO_InitStruct);

	/*Configure GPIO pin : PC2 */
	GPIO_InitStruct.Pin = GPIO_PIN_2;
	GPIO_InitStruct.Mode = GPIO_MODE_OUTPUT_PP;
	GPIO_InitStruct.Pull = GPIO_NOPULL;
	GPIO_InitStruct.Speed = GPIO_SPEED_FREQ_LOW;
	HAL_GPIO_Init(GPIOC, &GPIO_InitStruct);

	/*Configure GPIO pins : PC3 PC6 */
	GPIO_InitStruct.Pin = GPIO_PIN_3 | GPIO_PIN_6;
	GPIO_InitStruct.Mode = GPIO_MODE_IT_RISING;
	GPIO_InitStruct.Pull = GPIO_NOPULL;
	HAL_GPIO_Init(GPIOC, &GPIO_InitStruct);

	/*Configure GPIO pins : PD15 PD0 PD1 PD2 */
	GPIO_InitStruct.Pin = GPIO_PIN_15 | GPIO_PIN_0 | GPIO_PIN_1 | GPIO_PIN_2;
	GPIO_InitStruct.Mode = GPIO_MODE_IT_RISING;
	GPIO_InitStruct.Pull = GPIO_NOPULL;
	HAL_GPIO_Init(GPIOD, &GPIO_InitStruct);

	/*Configure GPIO pins : PD3 PD4 PD5 PD6
	 PD7 */
	GPIO_InitStruct.Pin = GPIO_PIN_3 | GPIO_PIN_4 | GPIO_PIN_5 | GPIO_PIN_6
			| GPIO_PIN_7;
	GPIO_InitStruct.Mode = GPIO_MODE_OUTPUT_PP;
	GPIO_InitStruct.Pull = GPIO_NOPULL;
	GPIO_InitStruct.Speed = GPIO_SPEED_FREQ_LOW;
	HAL_GPIO_Init(GPIOD, &GPIO_InitStruct);

	/* EXTI interrupt init*/
	HAL_NVIC_SetPriority(EXTI0_IRQn, 0, 0);
	HAL_NVIC_EnableIRQ(EXTI0_IRQn);

	HAL_NVIC_SetPriority(EXTI1_IRQn, 0, 0);
	HAL_NVIC_EnableIRQ(EXTI1_IRQn);

	HAL_NVIC_SetPriority(EXTI2_TSC_IRQn, 0, 0);
	HAL_NVIC_EnableIRQ(EXTI2_TSC_IRQn);

}

void Error_Handler(void) {
	__disable_irq();
	while (1) {
	}
}

/************************ (C) COPYRIGHT STMicroelectronics *****END OF FILE****/
